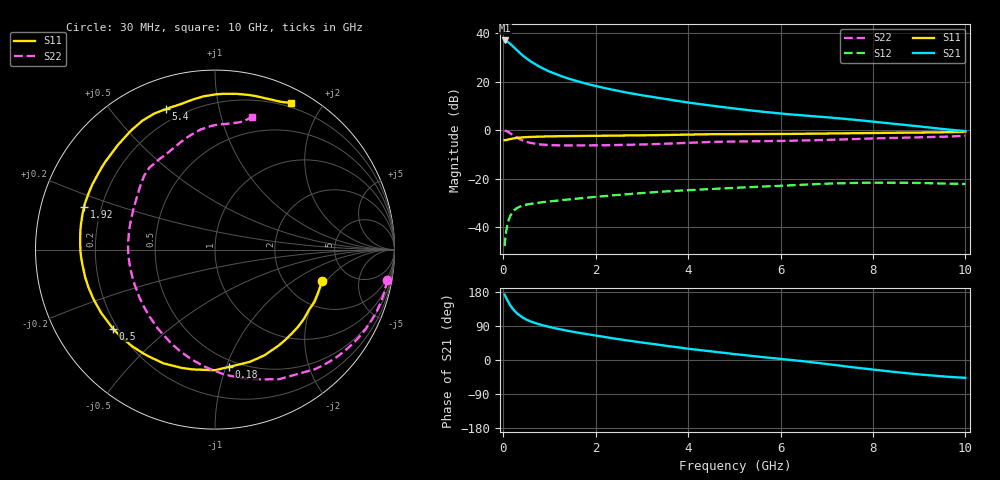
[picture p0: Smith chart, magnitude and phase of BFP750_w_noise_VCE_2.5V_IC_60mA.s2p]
! Infineon Technologies  Discrete & RF Semiconductors
! BFP750
! VCE =  2.5 V,  IC =  60 mA
! Common Emitter S-Parameters:  Jan 2016
# GHz  S  MA  R  50
!  f  S11  S21  S12  S22
! GHz  MAG  ANG  MAG  ANG  MAG  ANG  MAG  ANG
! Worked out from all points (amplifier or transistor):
!   229 points, 30 MHz to 10 GHz, reference 50 ohm
!   highest |S21| = 37.1 dB at 30 MHz (marker M1)
!   |S21| within 3 dB of that: start of sweep to 240.4 MHz
!   unconditionally stable (mu >= 1): 3.738 GHz to end of sweep
!   at 280 MHz: K = 0.18, MSG = 32.9 dB, |S12| = -32.4 dB
!   at 1.78 GHz: K = 0.73, MSG = 23.6 dB, |S12| = -28.0 dB
!   at 10 GHz: K = 1.05, MAG = 9.6 dB, |S12| = -22.2 dB
!   lowest NFmin = 1.14 dB at 450 MHz
!   S11 on the Smith chart (normalised r, x): 30 MHz: 3.15, -1.81; 180 MHz: 0.44, -1.02; 500 MHz: 0.18, -0.33; 1.92 GHz: 0.14, +0.15; 5.4 GHz: 0.14, +0.70; 10 GHz: 0.15, +1.63
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0.03  0.6208 -16.5  71.49 172.5  0.004 83.4  0.974 -9.9
0.05  0.6263 -27.5  71.13 166.9  0.0064 77.6  0.97 -17.3
0.07  0.6279 -37.7  69.64 162.0  0.0088 74.6  0.9564 -24.5
0.1  0.6376 -52.1  66.87 155.2  0.0122 68.7  0.928 -34.7
0.15  0.6549 -73.0  61.29 144.8  0.0168 59.8  0.868 -50.2
0.18  0.6583 -83.3  57.45 139.7  0.0188 55.3  0.8248 -58.1
0.2  0.6722 -90.0  55.17 135.9  0.0202 52.8  0.8054 -63.7
0.24  0.6791 -100.6  50.66 130.4  0.0222 48.0  0.757 -72.9
0.3  0.6956 -114.4  44.57 122.8  0.0247 42.7  0.6988 -85.6
0.4  0.7093 -130.7  36.48 113.5  0.0272 36.6  0.6246 -102.2
0.5  0.7191 -142.2  30.54 106.7  0.0289 32.7  0.5756 -115.3
0.7  0.7309 -157.7  22.76 97.0  0.0311 28.6  0.5219 -134.4
0.9  0.7397 -168.0  18.02 90.0  0.0329 26.7  0.4983 -147.8
1.2  0.7499 -179.4  13.65 81.7  0.0352 25.6  0.4851 -162.0
1.7  0.7619 167.1  9.677 70.4  0.0393 24.9  0.4836 -177.9
1.92  0.767 162.1  8.531 65.9  0.0412 24.5  0.4854 176.6
3.4  0.7915 134.5  4.561 39.6  0.0533 18.7  0.52 147.7
5.1  0.8296 112.7  2.731 14.4  0.0649 9.3  0.5856 127.4
5.4  0.8294 109.4  2.531 10.4  0.0668 7.4  0.589 124.0
6.8  0.8504 96.3  1.909 -7.6  0.0768 -2.3  0.6216 109.3
8.4  0.8821 77.5  1.372 -30.7  0.0822 -17.7  0.6899 91.5
10  0.9211 62.7  0.955 -47.1  0.0772 -29.2  0.7666 74.5
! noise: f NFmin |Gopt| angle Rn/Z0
0.45  1.14  0.21  -168  0.44
0.9  1.16  0.29  -162  0.19
1.5  1.18  0.38  -155  0.09
1.9  1.19  0.41  -150  0.08
2.4  1.2  0.42  -142  0.09
3.5  1.43  0.42  -127  0.12
